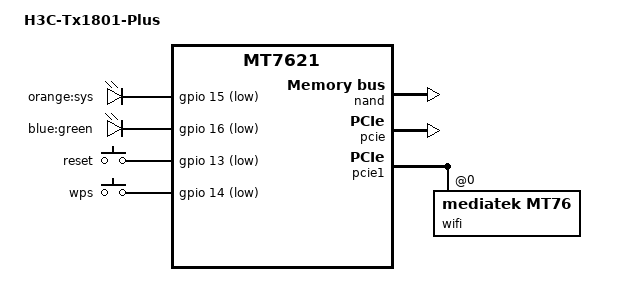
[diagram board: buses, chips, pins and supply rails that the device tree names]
// SPDX-License-Identifier: GPL-2.0-or-later OR MIT

#include "mt7621.dtsi"

#include <dt-bindings/gpio/gpio.h>
#include <dt-bindings/input/input.h>

/ {
	compatible = "h3c,tx1801-plus", "mediatek,mt7621-soc";
	model = "H3C-Tx1801-Plus";

	aliases {
		led-boot = &led_sys_orange;
		led-failsafe = &led_sys_orange;
		led-running = &led_sys_green;
		led-upgrade = &led_sys_orange;
		label-mac-device = &gmac0;
	};

	chosen {
		bootargs = "console=ttyS0,115200n8";
	};

	leds {
		compatible = "gpio-leds";

		led_sys_orange: sys_orange {
			label = "orange:sys";
			gpios = <&gpio 15 GPIO_ACTIVE_LOW>;
		};

		led_sys_green: sys_green {
			label = "blue:green";
			gpios = <&gpio 16 GPIO_ACTIVE_LOW>;
		};

	};

	keys {
		compatible = "gpio-keys";

		reset {
			label = "reset";
			gpios = <&gpio 13 GPIO_ACTIVE_LOW>;
			linux,code = <KEY_RESTART>;
		};

		wps {
			label = "wps";
			gpios = <&gpio 14 GPIO_ACTIVE_LOW>;
			linux,code = <KEY_WPS_BUTTON>;
		};
	};
	
		ubi-concat {
		compatible = "mtd-concat";
		devices = <&ubiconcat0 &ubiconcat1>;

		partitions {
			compatible = "fixed-partitions";
			#address-cells = <1>;
			#size-cells = <1>;

			partition@0 {
				label = "ubi";
				reg = <0x0 0x79c0000>;
			};
		};
	};
};

&nand {
	status = "okay";

	partitions {
		compatible = "fixed-partitions";
		#address-cells = <1>;
		#size-cells = <1>;

		partition@0 {
			label = "u-boot";
			reg = <0x0 0x80000>;
			read-only;
		};

		partition@80000 {
			label = "debug";
			reg = <0x80000 0x80000>;
			read-only;
		};

		factory: partition@100000 {
			label = "factory";
			reg = <0x100000 0x40000>;
			read-only;
		};

		partition@140000 {
			label = "kernel";
			reg = <0x140000 0x400000>;
		};

		ubiconcat0: partition@540000 {
			label = "ubiconcat0";
			reg = <0x540000 0x1c80000>;
		};

		partition@21c0000 {
			label = "bdinfo";
			reg = <0x21c0000 0x80000>;
			read-only;
		};

		ubiconcat1: partition@2240000 {
			label = "ubiconcat1";
			reg = <0x2240000 0x5d40000>;
		};
	};
};

&pcie {
	status = "okay";
};

&pcie1 {
	wifi@0,0 {
		compatible = "mediatek,mt76";
		reg = <0x0000 0 0 0 0>;
		mediatek,mtd-eeprom = <&factory 0x0>;
	};
};

&gmac0 {
	mtd-mac-address = <&factory 0x3fff4>;
};

&switch0 {
	ports {
		port@0 {
			status = "okay";
			label = "lan1";
		};

		port@1 {
			status = "okay";
			label = "lan2";
		};

		port@2 {
			status = "okay";
			label = "lan3";
		};

		port@3 {
			status = "okay";
			label = "lan4";
		};

		port@4 {
			status = "okay";
			label = "wan";
			mtd-mac-address = <&factory 0x3fffa>;
		};
	};
};

&state_default {
	gpio {
		groups = "jtag", "uart3", "wdt";
		function = "gpio";
	};
};
